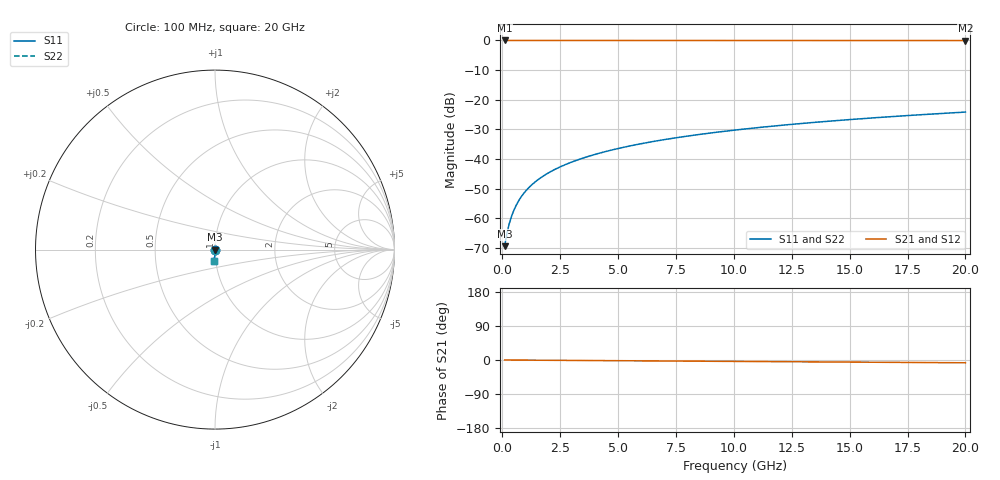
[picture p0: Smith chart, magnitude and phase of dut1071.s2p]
! Touchstone file exported from HFSS 2026.1.0
!  File:  C:/ffzhzh/LocalFiles/Ansys_Project_Files/temp_train_TSV_1071_1783189911_55132.aedt
!  Generated:  02:33:23 AM Jul  5, 2026
!  Design:  TSV
!  Project:  temp_train_TSV_1071_1783189911_55132
! Variables:
!  h_bsmrdl = 2um
!  h_ox = 20um
!  h_rdl = 5um
!  h_sub = 69.64um
!  h_tmrdl = 5um
!  h_tsv = 69.64um
!  h_via = 3um
!  l_bsmrdl = 300um
!  l_sub = 413.06um
!  l_tmrdl = 200um
!  m_sub = 200um
!  pitch = 17.33um
!  r_tsv = 6.53um
!  s_tmrdl = 10um
!  w_bsmrdl = 18um
!  w_sub = 500um
!  w_tmrdl = 12um
!  x_tsv_center1 = 206um
!  x_tsv_center2 = 524um
!  x_tsv_center3 = 736um
!  x_tsv_center4 = 1054um
!  x_tsv_center5 = 1266um
!  x_tsv_center6 = 1584um
# GHz S MA R 50.000000
! Terminal data exported
! Port[1] = TSV1_1_T1
! Port[2] = TSV1_1_T2
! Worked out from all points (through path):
!   200 points, 100 MHz to 20 GHz, reference 50 ohm
!   highest |S21| = 0.00 dB at 100 MHz (marker M1); lowest = 0.0 dB at 20 GHz (marker M2)
!   group delay of S21, straight-line fit = 1.02 ps
!   lowest |S11| = -69.4 dB at 100 MHz (marker M3), VSWR 1.00, Z = 50 - j0.0241 ohm
!   |S11| at or under -10 dB: start of sweep to end of sweep
!   |S22| runs from -69.4 to -24.2 dB; largest |S21 - S12| = 6.1e-15
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0.1  0.0003398 -45.1  0.9998 -0.0  0.9998 -0.0  0.0003398 -45.1
! Gamma 0 0 0 0
! Port Impedance 50 0 50 0
0.2  0.000558 -61.6  0.9997 -0.1  0.9997 -0.1  0.000558 -61.6
0.3  0.0008119 -68.3  0.9997 -0.1  0.9997 -0.1  0.0008119 -68.3
0.4  0.001085 -71.9  0.9997 -0.2  0.9997 -0.2  0.001085 -71.9
0.5  0.00137 -74.3  0.9996 -0.2  0.9996 -0.2  0.00137 -74.3
0.7  0.001958 -77.5  0.9996 -0.3  0.9996 -0.3  0.001958 -77.5
0.8  0.002257 -78.6  0.9995 -0.3  0.9995 -0.3  0.002257 -78.6
1  0.002858 -80.4  0.9995 -0.4  0.9995 -0.4  0.002858 -80.4
1.2  0.00346 -81.7  0.9995 -0.5  0.9995 -0.5  0.00346 -81.7
1.4  0.004062 -82.7  0.9994 -0.5  0.9994 -0.5  0.004062 -82.7
1.7  0.004967 -83.8  0.9994 -0.6  0.9994 -0.6  0.004967 -83.8
2  0.005872 -84.6  0.9994 -0.8  0.9994 -0.8  0.005872 -84.6
2.7  0.007992 -85.9  0.9993 -1.0  0.9993 -1.0  0.007992 -85.9
3.5  0.01043 -86.9  0.9991 -1.3  0.9991 -1.3  0.01043 -86.9
4.2  0.01258 -87.5  0.999 -1.6  0.999 -1.6  0.01258 -87.5
5  0.01506 -88.1  0.9989 -1.9  0.9989 -1.9  0.01506 -88.1
6.8  0.02066 -89.3  0.9986 -2.5  0.9986 -2.5  0.02066 -89.3
8.3  0.02535 -90.1  0.9984 -3.1  0.9984 -3.1  0.02535 -90.1
10.1  0.03098 -91.1  0.9981 -3.7  0.9981 -3.7  0.03098 -91.1
13.4  0.04131 -92.7  0.9975 -4.9  0.9975 -4.9  0.04131 -92.7
16.7  0.05164 -94.1  0.9968 -6.1  0.9968 -6.1  0.05164 -94.1
20  0.06196 -95.4  0.996 -7.3  0.996 -7.3  0.06196 -95.4
